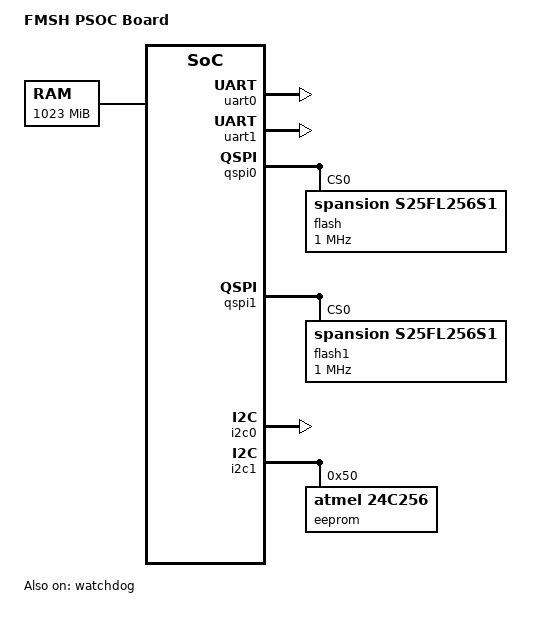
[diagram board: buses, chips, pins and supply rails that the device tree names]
/*
 * FMSH PSOC board DTS
 * Child board B QSPI_I2C
 *
 * Copyright (C) 2018 FMSH, Inc.
 *
 * SPDX-License-Identifier:	GPL-2.0+
 */

#include "fmsh-psoc.dtsi"

/ {
	model = "FMSH PSOC Board";
	compatible = "fmsh,fmsh-psoc";

	memory {
		device_type = "memory";
		reg = <0x00100000 0x3ff00000>;
	};

	chosen {
		bootargs = "console=ttyPS0,115200 earlyprintk loglevel=8 root=/dev/ram rw";
		/* TN7's bootloader will place initrd at this address */
		linux,initrd-start = <0x12000000>;
		linux,initrd-end = <0x12800000>;
	};

        aliases {
              serial0 = &uart0;
              serial1 = &uart1;
        };
};

&uart0 {
	status = "okay";
};

&uart1 {
	status = "okay";
};

&qspi0 {
	status = "okay";

	flash: flash@0 {
		compatible = "spansion,s25fl256s1", "jedec,spi-nor";
		reg = <0>;
		spi-max-frequency = <1000000>;
		cdns,read-delay = <0>;
		cdns,tshsl-ns = <0>;
		cdns,tsd2d-ns = <0>;
		cdns,tchsh-ns = <0>;
		cdns,tslch-ns = <0>;
	};
};

&qspi1 {
	status = "okay";

	flash1: flash@0 {
		compatible = "spansion,s25fl256s1", "jedec,spi-nor";
		reg = <0>;
		spi-max-frequency = <1000000>;
		cdns,read-delay = <0>;
		cdns,tshsl-ns = <0>;
		cdns,tsd2d-ns = <0>;
		cdns,tchsh-ns = <0>;
		cdns,tslch-ns = <0>;
	};
};

&i2c0 {
	status = "okay";
};

&i2c1 {
	status = "okay";

	eeprom@50 {
		compatible = "atmel,24c256";
		reg = <0x50>;
	};
};

&watchdog {
	status = "okay";
};

&gpio0 {
	status = "okay";
};

&gpio1 {
	status = "okay";
};

&gpio2 {
	status = "okay";
};

&gpio3 {
	status = "okay";
};

